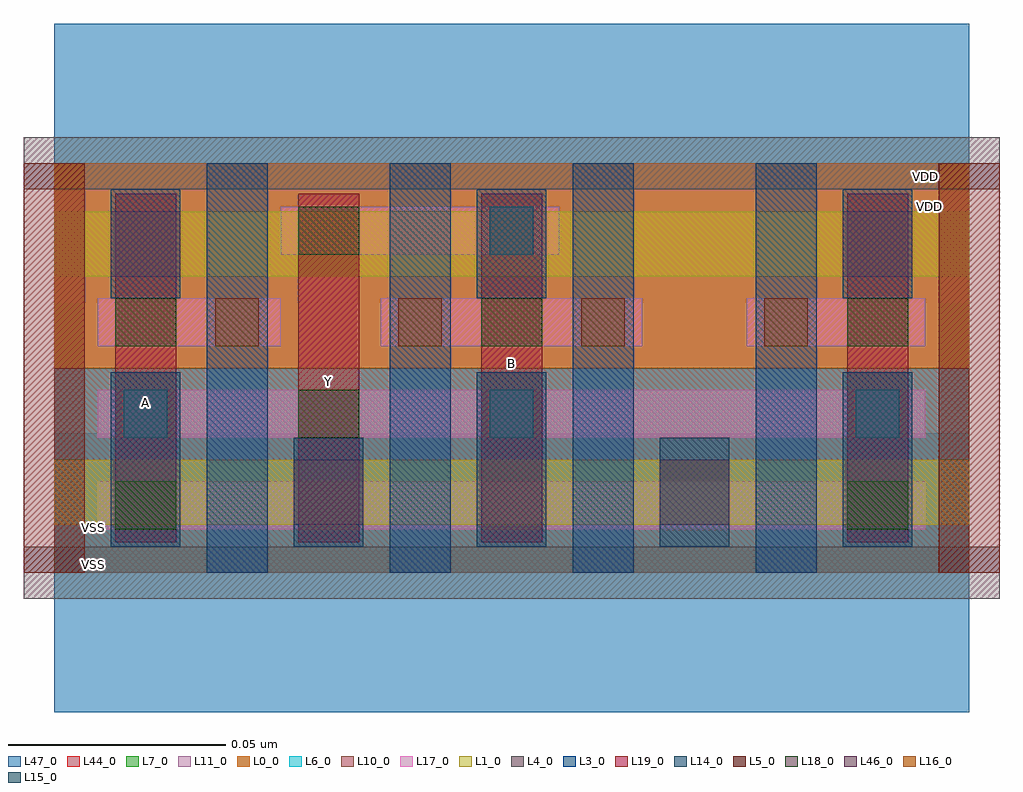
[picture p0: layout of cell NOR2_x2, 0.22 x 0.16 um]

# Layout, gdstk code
import gdstk
lib = gdstk.Library(unit=1e-6, precision=5e-10)
def R(c, l, rs):  # rectangles x0, y0, x1, y1
    for r in rs: c.add(gdstk.rectangle(r[:2], r[2:], *l))
def A(c, l, x, y, w, h, nx, ny, dx, dy):  # array of equal rectangles
    R(c, l, [(x+i*dx, y+j*dy, x+i*dx+w, y+j*dy+h) for i in range(nx) for j in range(ny)])
L0_0 = (0, 0)
L1_0 = (1, 0)
L3_0 = (3, 0)
L4_0 = (4, 0)
L5_0 = (5, 0)
L6_0 = (6, 0)
L7_0 = (7, 0)
L10_0 = (10, 0)
L11_0 = (11, 0)
L14_0 = (14, 0)
L15_0 = (15, 0)
L16_0 = (16, 0)
L17_0 = (17, 0)
L18_0 = (18, 0)
L19_0 = (19, 0)
L44_0 = (44, 0)
L46_0 = (46, 0)
L47_0 = (47, 0)

nor2_x2 = lib.new_cell('NOR2_x2')
R(nor2_x2, L0_0, [(0,0.047,0.21,0.094)])
R(nor2_x2, L1_0, [(0,0.011,0.21,0.026), (0,0.068,0.21,0.083)])
A(nor2_x2, L3_0, 0.035, 0, 0.014, 0.094, 4, 1, 0.042, 0)
R(nor2_x2, L4_0, [(-0.007,-0.006,0.217,0.006), (-0.007,0.088,0.217,0.1)])
R(nor2_x2, L5_0, [(-0.007,0,0.007,0.094), (0.203,0,0.217,0.094)])
R(nor2_x2, L6_0, [(0,0,0.21,0.047)])
R(nor2_x2, L7_0, [(0,0.047,0.21,0.094)])
R(nor2_x2, L10_0, [(0,0,0.21,0.047)])
R(nor2_x2, L11_0, [(0,0.047,0.21,0.094)])
A(nor2_x2, L14_0, 0.013, 0.006, 0.016, 0.04, 3, 1, 0.084, 0)
A(nor2_x2, L14_0, 0.013, 0.063, 0.016, 0.025, 3, 1, 0.084, 0)
R(nor2_x2, L14_0, [(0.055,0.006,0.071,0.031), (0.139,0.006,0.155,0.031)])
A(nor2_x2, L15_0, 0.016, 0.031, 0.01, 0.011, 3, 1, 0.084, 0)
R(nor2_x2, L15_0, [(0.1,0.073,0.11,0.084)])
A(nor2_x2, L16_0, 0.037, 0.052, 0.01, 0.011, 4, 1, 0.042, 0)
R(nor2_x2, L17_0, [(0.01,0.01,0.2,0.021), (0.01,0.031,0.2,0.042), (0.01,0.052,0.052,0.063), (0.075,0.052,0.135,0.063), (0.159,0.052,0.2,0.063), (0.052,0.073,0.116,0.084)])
A(nor2_x2, L18_0, 0.014, 0.052, 0.014, 0.011, 3, 1, 0.084, 0)
R(nor2_x2, L18_0, [(0.014,0.01,0.028,0.021), (0.182,0.01,0.196,0.021), (0.056,0.031,0.07,0.042), (0.056,0.073,0.07,0.084)])
A(nor2_x2, L19_0, 0.014, 0.007, 0.014, 0.08, 3, 1, 0.042, 0)
R(nor2_x2, L19_0, [(0.182,0.007,0.196,0.087)])
R(nor2_x2, L44_0, [(0,0,0.21,0.094)])
R(nor2_x2, L46_0, [(0.055,0.011,0.071,0.026), (0.139,0.011,0.155,0.026), (0.013,0.068,0.029,0.083), (0.181,0.068,0.197,0.083)])
R(nor2_x2, L47_0, [(0,-0.032,0.21,0.032), (0,0.062,0.21,0.126)])
nor2_x2.add(gdstk.Label('VDD', (0.2,0.091), layer=0, texttype=2))
nor2_x2.add(gdstk.Label('A', (0.021,0.039), layer=19, texttype=2))
nor2_x2.add(gdstk.Label('B', (0.105,0.048), layer=19, texttype=2))
nor2_x2.add(gdstk.Label('Y', (0.063,0.044), layer=19, texttype=2))
nor2_x2.add(gdstk.Label('VDD', (0.201,0.084), layer=47, texttype=2))
nor2_x2.add(gdstk.Label('VSS', (0.009,0.0105), layer=47, texttype=2))
nor2_x2.add(gdstk.Label('VSS', (0.009,0.002), layer=54, texttype=2))

lib.write_gds('NOR2_x2.gds')
